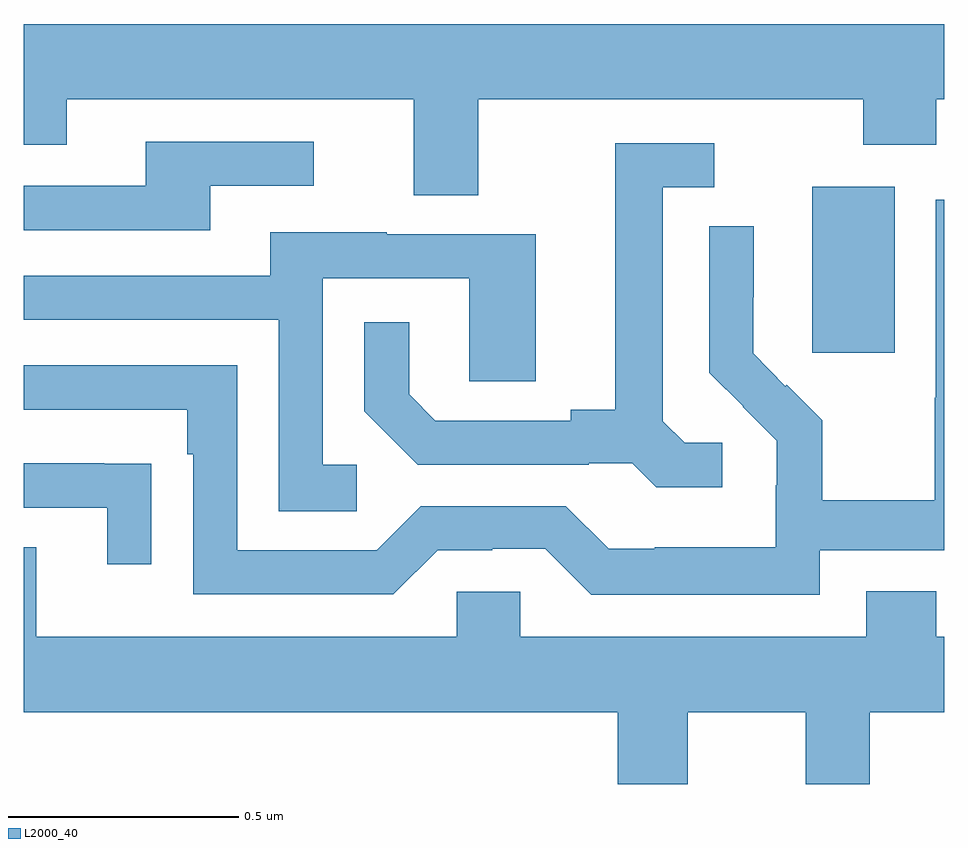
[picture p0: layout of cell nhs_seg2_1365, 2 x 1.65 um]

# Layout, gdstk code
import gdstk
lib = gdstk.Library(unit=1e-6, precision=1e-09)
def R(c, l, rs):  # rectangles x0, y0, x1, y1
    for r in rs: c.add(gdstk.rectangle(r[:2], r[2:], *l))
def P(c, l, *ps):  # polygons
    for p in ps: c.add(gdstk.Polygon(p, *l))
L2000_40 = (2000, 40)

nhs_seg2_1365 = lib.new_cell('nhs_seg2_1365')
R(nhs_seg2_1365, L2000_40, [(128.714,661.737,128.893,662.098)])
P(nhs_seg2_1365, L2000_40, [(127.987,662.288),(128.824,662.288),(128.824,662.189),(128.983,662.189),(128.983,662.288),(129,662.288),(129,662.452),(127,662.452),(127,662.189),(127.093,662.189),(127.093,662.288),(127.847,662.288),(127.847,662.08),(127.987,662.08)],
  [(127.405,662.1),(127.63,662.1),(127.63,662.196),(127.265,662.196),(127.265,662.1),(127,662.1),(127,662.004),(127.405,662.004)],
  [(128.518,661.542),(128.436,661.542),(128.389,661.589),(128.389,662.097),(128.5,662.097),(128.5,662.193),(128.285,662.193),(128.285,661.613),(128.189,661.613),(128.189,661.59),(127.894,661.59),(127.837,661.647),(127.837,661.804),(127.74,661.804),(127.74,661.61),(127.856,661.494),(128.228,661.494),(128.228,661.497),(128.322,661.497),(128.374,661.445),(128.518,661.445)],
  [(128.73,661.308),(129,661.308),(129,662.07),(128.982,662.07),(128.982,661.64),(128.98,661.64),(128.98,661.417),(128.735,661.417),(128.735,661.591),(128.658,661.668),(128.655,661.665),(128.585,661.736),(128.585,661.858),(128.586,661.858),(128.586,662.012),(128.49,662.012),(128.49,661.694),(128.563,661.621),(128.562,661.62),(128.636,661.546),(128.636,661.449),(128.634,661.449),(128.634,661.315),(128.371,661.315),(128.371,661.311),(128.271,661.311),(128.178,661.404),(127.863,661.404),(127.767,661.308),(127.464,661.308),(127.464,661.71),(127,661.71),(127,661.614),(127.355,661.614),(127.355,661.517),(127.368,661.517),(127.368,661.212),(127.803,661.212),(127.899,661.308),(128.018,661.308),(128.018,661.311),(128.133,661.311),(128.233,661.211),(128.73,661.211)],
  [(127.723,661.494),(127.65,661.494),(127.65,661.899),(127.968,661.899),(127.968,661.675),(128.113,661.675),(128.113,661.995),(127.789,661.995),(127.789,661.999),(127.535,661.999),(127.535,661.905),(127,661.905),(127,661.809),(127.554,661.809),(127.554,661.393),(127.723,661.393)],
  [(127.277,661.496),(127.175,661.496),(127.175,661.497),(127,661.497),(127,661.401),(127.181,661.401),(127.181,661.278),(127.277,661.278)],
  [(128.443,660.956),(128.699,660.956),(128.699,660.8),(128.839,660.8),(128.839,660.956),(129,660.956),(129,661.12),(128.983,661.12),(128.983,661.219),(128.831,661.219),(128.831,661.12),(128.079,661.12),(128.079,661.218),(127.941,661.218),(127.941,661.12),(127.027,661.12),(127.027,661.315),(127,661.315),(127,660.956),(128.291,660.956),(128.291,660.8),(128.443,660.8)])

lib.write_gds('nhs_seg2_1365.gds')
